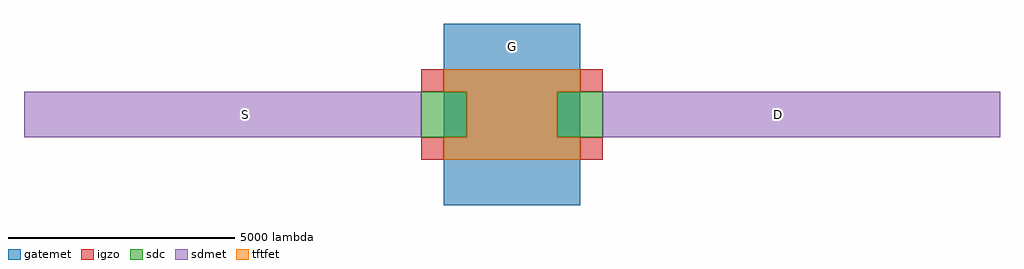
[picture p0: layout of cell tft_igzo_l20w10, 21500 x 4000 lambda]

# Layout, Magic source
magic
tech igzo_mmm_lab
<< igzo >>
rect -2000 500 -1500 1000
rect 1500 500 2000 1000
rect -2000 -1000 -1500 -500
rect 1500 -1000 2000 -500
<< tftfet >>
rect -1500 500 1500 1000
rect -1000 -500 1000 500
rect -1500 -1000 1500 -500
<< sdc >>
rect -2000 -500 -1000 500
rect 1000 -500 2000 500
<< sdmet >>
rect -10750 -500 -2000 500
rect 2000 -500 10750 500
<< gatemet >>
rect -1500 -2000 1500 2000
<< labels >>
rlabel sdmet s -5925 -50 -5825 50 4 S
port 3 nsew
rlabel sdmet s 5825 -50 5925 50 4 D
port 5 nsew
rlabel gatemet s -50 1450 50 1550 4 G
port 7 nsew
<< end >>
